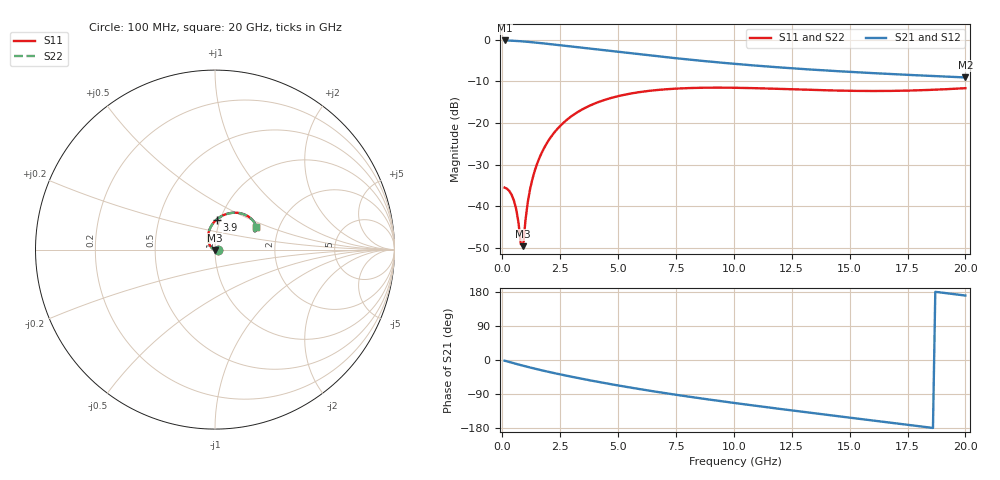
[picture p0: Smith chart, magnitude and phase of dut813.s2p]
! Touchstone file exported from HFSS 2024.1.0
!  File:  C:/UserFiles/LocalFiles/RDL_TSV_Batchsim/temp_RDL_TSV_813_1779913284.aedt
!  Generated:  04:34:56 AM May 28, 2026
!  Design:  RDL_TSV
!  Project:  temp_RDL_TSV_813_1779913284
!  Setup:  Setup1
!  Solution:  Sweep
! Variables:
!  dtsv = 13.13um
!  hbump = 3um
!  htsv = 77.82um
!  ldown = 662.21um
!  lrdl = 113.63um
!  p = 40
!  p1 = 43.17um
!  rhole = 10um
!  subl = 2441.15um
!  t = 450um
!  tdown = 4.03um
!  trdl = 2.63um
!  viad = 10um
!  wdown = 13.5um
!  wrdl = 15.92um
!  xbump = 18um
# GHz S MA R 50.000000
! Terminal data exported
! Port[1] = TM1_1_T1
! Port[2] = TM1_4_T1
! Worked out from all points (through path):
!   200 points, 100 MHz to 20 GHz, reference 50 ohm
!   highest |S21| = -0.15 dB at 100 MHz (marker M1); lowest = -9.0 dB at 20 GHz (marker M2)
!   group delay of S21, straight-line fit = 24.8 ps
!   lowest |S11| = -49.5 dB at 900 MHz (marker M3), VSWR 1.01, Z = 49.7 - j0.185 ohm
!   |S11| at or under -10 dB: start of sweep to end of sweep
!   |S22| runs from -49.5 to -11.5 dB; largest |S21 - S12| = 2.5e-14
!   S11 on the Smith chart (normalised r, x): 100 MHz: 1.03, -0.00; 3.9 GHz: 0.96, +0.33; 20 GHz: 1.53, +0.42
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0.1  0.01685 -3.0  0.9825 -1.8  0.9825 -1.8  0.01685 -3.0
! Gamma 0 0 0 0
! Port Impedance 50 0 50 0
0.3  0.01538 -10.7  0.9791 -5.2  0.9791 -5.2  0.01538 -10.7
0.5  0.01184 -21.5  0.9733 -8.6  0.9733 -8.6  0.01184 -21.5
0.6  0.0093 -29.2  0.9698 -10.3  0.9698 -10.3  0.009304 -29.2
0.7  0.006384 -41.4  0.9658 -11.9  0.9658 -11.9  0.006389 -41.4
0.8  0.003526 -71.4  0.9614 -13.5  0.9614 -13.5  0.003529 -71.3
0.9  0.003339 -146.1  0.9566 -15.1  0.9566 -15.1  0.003332 -146.0
1  0.006802 178.0  0.9516 -16.7  0.9516 -16.7  0.00679 178.0
1.1  0.01125 164.8  0.9463 -18.3  0.9463 -18.3  0.01124 164.8
1.2  0.01613 157.1  0.9408 -19.8  0.9408 -19.8  0.01611 157.1
1.4  0.02672 146.9  0.9291 -22.8  0.9291 -22.8  0.02669 146.9
1.6  0.03809 139.2  0.917 -25.7  0.917 -25.7  0.03806 139.2
2  0.06212 126.7  0.8922 -31.3  0.8922 -31.3  0.06207 126.7
2.4  0.08657 116.3  0.8672 -36.7  0.8672 -36.7  0.0865 116.3
3.5  0.1486 93.6  0.801 -50.3  0.801 -50.3  0.1485 93.6
3.9  0.1679 86.9  0.778 -55.0  0.778 -55.0  0.1678 86.8
5.2  0.217 68.8  0.7075 -69.3  0.7075 -69.3  0.2168 68.8
6.8  0.2515 52.5  0.6309 -85.3  0.6309 -85.3  0.2512 52.4
10.1  0.2656 32.4  0.513 -114.0  0.513 -114.0  0.2652 32.3
13.4  0.2505 24.9  0.4385 -139.9  0.4385 -139.9  0.25 24.8
16.7  0.2436 26.0  0.3895 -164.9  0.3895 -164.9  0.2429 25.9
20  0.2628 29.0  0.3534 170.1  0.3534 170.1  0.2622 29.0
